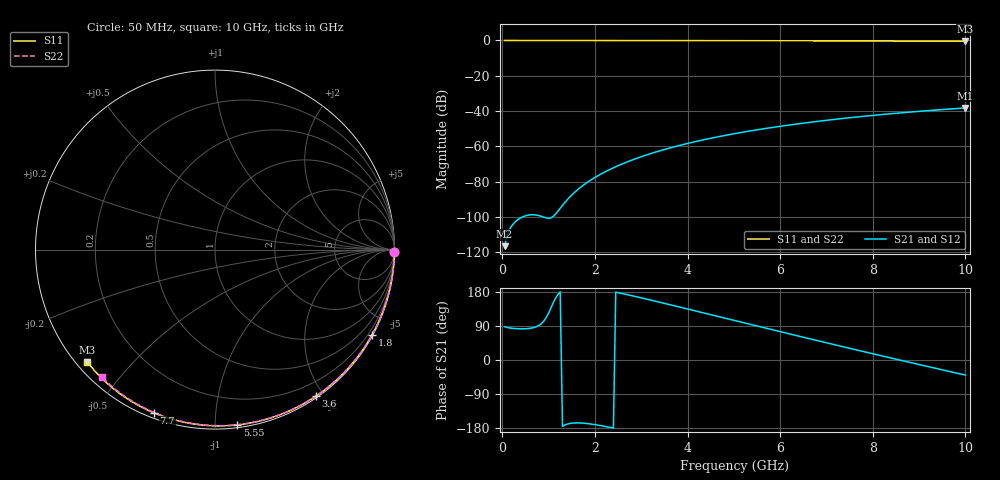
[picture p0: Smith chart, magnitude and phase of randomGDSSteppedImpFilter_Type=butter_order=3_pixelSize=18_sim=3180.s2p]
! freq	dB(S11)	phase(S11)	dB(S12)	phase(S12)
!  dB(S21)	phase(S21)	dB(S22)	phase(S22)
!S-par simulation data
#  GHz  S  DB  R 50
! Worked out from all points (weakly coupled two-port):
!   200 points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, 50 MHz to 10 GHz, reference 50 ohm
!   highest |S21| = -38.26 dB at 10 GHz (marker M1); lowest = -116.6 dB at 50 MHz (marker M2)
!   lowest |S11| = -0.5 dB at 10 GHz (marker M3), VSWR 37.22, Z = 1.54 - j18.9 ohm
!   |S11| at or under -10 dB: nowhere
!   |S22| runs from -0.4 to 0.0 dB; largest |S21 - S12| = 0
!   S11 on the Smith chart (normalised r, x): 50 MHz: open; 1.8 GHz: 0.03, -3.95; 3.6 GHz: 0.02, -1.90; 5.55 GHz: 0.02, -1.13; 7.7 GHz: 0.02, -0.69; 10 GHz: 0.03, -0.38
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0.05  -0.00 -0.8  -116.59 87.9  -116.59 87.9  -0.00 -0.8
0.45  -0.01 -7.2  -99.86 82.2  -99.86 82.2  -0.01 -6.8
0.9  -0.02 -14.3  -100.18 103.3  -100.18 103.3  -0.02 -13.6
1.3  -0.03 -20.6  -93.43 -175.2  -93.43 -175.2  -0.02 -19.6
1.75  -0.04 -27.6  -82.01 -166.7  -82.01 -166.7  -0.03 -26.2
1.8  -0.04 -28.4  -81.06 -167.3  -81.06 -167.3  -0.03 -27.0
1.85  -0.04 -29.2  -80.15 -167.9  -80.15 -167.9  -0.04 -27.7
2.2  -0.04 -34.6  -74.73 -174.8  -74.73 -174.8  -0.04 -32.8
2.55  -0.05 -39.9  -70.40 176.4  -70.40 176.4  -0.05 -37.9
2.95  -0.06 -45.9  -66.35 165.4  -66.35 165.4  -0.06 -43.6
3.4  -0.07 -52.6  -62.55 152.4  -62.55 152.4  -0.07 -49.9
3.6  -0.07 -55.5  -61.06 146.6  -61.06 146.6  -0.07 -52.7
3.9  -0.08 -59.8  -59.00 137.7  -59.00 137.7  -0.08 -56.8
4.3  -0.09 -65.5  -56.55 125.7  -56.55 125.7  -0.09 -62.3
5.05  -0.12 -76.0  -52.65 103.2  -52.65 103.2  -0.11 -72.2
5.55  -0.14 -82.8  -50.43 88.3  -50.43 88.3  -0.13 -78.7
6.1  -0.16 -90.1  -48.27 71.9  -48.27 71.9  -0.15 -85.7
6.7  -0.19 -97.9  -46.19 54.2  -46.19 54.2  -0.18 -93.1
7.7  -0.25 -110.5  -43.25 25.0  -43.25 25.0  -0.24 -105.1
8.35  -0.30 -118.5  -41.62 6.4  -41.62 6.4  -0.29 -112.7
9.2  -0.38 -128.9  -39.76 -17.6  -39.76 -17.6  -0.36 -122.4
10  -0.47 -138.6  -38.26 -39.8  -38.26 -39.8  -0.44 -131.4
